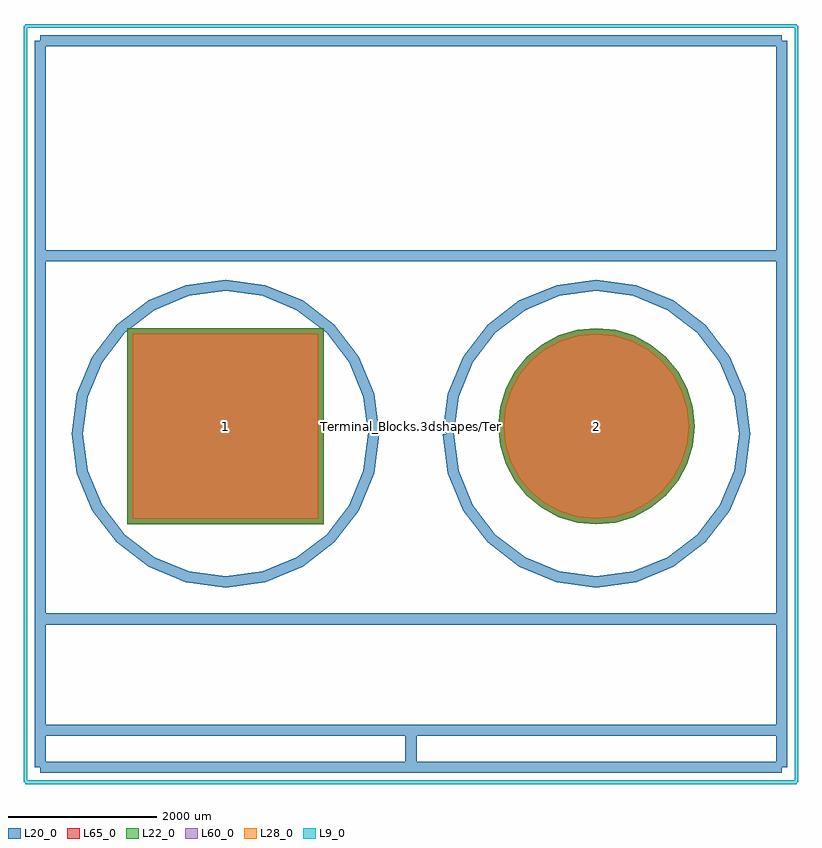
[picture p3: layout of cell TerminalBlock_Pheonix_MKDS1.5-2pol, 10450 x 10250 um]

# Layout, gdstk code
import gdstk
lib = gdstk.Library(unit=1e-6, precision=1e-09)
def R(c, l, rs):  # rectangles x0, y0, x1, y1
    for r in rs: c.add(gdstk.rectangle(r[:2], r[2:], *l))
def P(c, l, *ps):  # polygons
    for p in ps: c.add(gdstk.Polygon(p, *l))
L9_0 = (9, 0)
L20_0 = (20, 0)
L22_0 = (22, 0)
L28_0 = (28, 0)
L60_0 = (60, 0)
L65_0 = (65, 0)

terminalblock_pheonix_mk = lib.new_cell('TerminalBlock_Pheonix_MKDS1.5-2pol')
R(terminalblock_pheonix_mk, L22_0, [(-1325,-1325,1325,1325)])
P(terminalblock_pheonix_mk, L22_0, [(6325,0),(6299.54,258.495),(6224.14,507.056),(6101.697,736.131),(5936.916,936.916),(5736.131,1101.697),(5507.056,1224.14),(5258.495,1299.54),(5000,1325),(4741.505,1299.54),(4492.944,1224.14),(4263.869,1101.697),(4063.084,936.916),(3898.303,736.131),(3775.86,507.056),(3700.46,258.495),(3675,0),(3700.46,-258.495),(3775.86,-507.056),(3898.303,-736.131),(4063.084,-936.916),(4263.869,-1101.697),(4492.944,-1224.14),(4741.505,-1299.54),(5000,-1325),(5258.495,-1299.54),(5507.056,-1224.14),(5736.131,-1101.697),(5936.916,-936.916),(6101.697,-736.131),(6224.14,-507.056),(6299.54,-258.495)])
R(terminalblock_pheonix_mk, L28_0, [(-1250,-1250,1250,1250)])
P(terminalblock_pheonix_mk, L28_0, [(6250,0),(6225.982,243.863),(6154.849,478.354),(6039.337,694.463),(5883.883,883.883),(5694.463,1039.337),(5478.354,1154.849),(5243.863,1225.982),(5000,1250),(4756.137,1225.982),(4521.646,1154.849),(4305.537,1039.337),(4116.117,883.883),(3960.663,694.463),(3845.151,478.354),(3774.018,243.863),(3750,0),(3774.018,-243.863),(3845.151,-478.354),(3960.663,-694.463),(4116.117,-883.883),(4305.537,-1039.337),(4521.646,-1154.849),(4756.137,-1225.982),(5000,-1250),(5243.863,-1225.982),(5478.354,-1154.849),(5694.463,-1039.337),(5883.883,-883.883),(6039.337,-694.463),(6154.849,-478.354),(6225.982,-243.863)])
R(terminalblock_pheonix_mk, L60_0, [(-1250,-1250,1250,1250)])
P(terminalblock_pheonix_mk, L60_0, [(6250,0),(6225.982,243.863),(6154.849,478.354),(6039.337,694.463),(5883.883,883.883),(5694.463,1039.337),(5478.354,1154.849),(5243.863,1225.982),(5000,1250),(4756.137,1225.982),(4521.646,1154.849),(4305.537,1039.337),(4116.117,883.883),(3960.663,694.463),(3845.151,478.354),(3774.018,243.863),(3750,0),(3774.018,-243.863),(3845.151,-478.354),(3960.663,-694.463),(4116.117,-883.883),(4305.537,-1039.337),(4521.646,-1154.849),(4756.137,-1225.982),(5000,-1250),(5243.863,-1225.982),(5478.354,-1154.849),(5694.463,-1039.337),(5883.883,-883.883),(6039.337,-694.463),(6154.849,-478.354),(6225.982,-243.863)])
R(terminalblock_pheonix_mk, L65_0, [(-1325,-1325,1325,1325)])
P(terminalblock_pheonix_mk, L65_0, [(6325,0),(6299.54,258.495),(6224.14,507.056),(6101.697,736.131),(5936.916,936.916),(5736.131,1101.697),(5507.056,1224.14),(5258.495,1299.54),(5000,1325),(4741.505,1299.54),(4492.944,1224.14),(4263.869,1101.697),(4063.084,936.916),(3898.303,736.131),(3775.86,507.056),(3700.46,258.495),(3675,0),(3700.46,-258.495),(3775.86,-507.056),(3898.303,-736.131),(4063.084,-936.916),(4263.869,-1101.697),(4492.944,-1224.14),(4741.505,-1299.54),(5000,-1325),(5258.495,-1299.54),(5507.056,-1224.14),(5736.131,-1101.697),(5936.916,-936.916),(6101.697,-736.131),(6224.14,-507.056),(6299.54,-258.495)])
terminalblock_pheonix_mk.add(gdstk.FlexPath([(-2500,5200),(-2500,-4600)], 149.998, ends="flush", simple_path=True, layer=20, datatype=0))  # L20_0
terminalblock_pheonix_mk.add(gdstk.FlexPath([(7500,5200),(-2500,5200)], 149.998, ends="flush", simple_path=True, layer=20, datatype=0))  # L20_0
terminalblock_pheonix_mk.add(gdstk.FlexPath([(7500,-4600),(7500,5200)], 149.998, ends="flush", simple_path=True, layer=20, datatype=0))  # L20_0
terminalblock_pheonix_mk.add(gdstk.FlexPath([(-2500,-4600),(7500,-4600)], 149.998, ends="flush", simple_path=True, layer=20, datatype=0))  # L20_0
terminalblock_pheonix_mk.add(gdstk.FlexPath([(-2500,-4100),(7500,-4100)], 149.998, ends="flush", simple_path=True, layer=20, datatype=0))  # L20_0
terminalblock_pheonix_mk.add(gdstk.FlexPath([(-2500,2300),(7500,2300)], 149.998, ends="flush", simple_path=True, layer=20, datatype=0))  # L20_0
terminalblock_pheonix_mk.add(gdstk.FlexPath([(-2500,-2600),(7500,-2600)], 149.998, ends="flush", simple_path=True, layer=20, datatype=0))  # L20_0
terminalblock_pheonix_mk.add(gdstk.FlexPath([(2000,-100),(1931.852,417.638),(1732.051,900),(1414.214,1314.214),(1000,1632.051),(517.638,1831.852),(0,1900),(-517.638,1831.852),(-1000,1632.051),(-1414.214,1314.214),(-1732.051,900),(-1931.852,417.638),(-2000,-100),(-1931.852,-617.638),(-1732.051,-1100),(-1414.214,-1514.214),(-1000,-1832.051),(-517.638,-2031.852),(0,-2100),(517.638,-2031.852),(1000,-1832.051),(1414.214,-1514.214),(1732.051,-1100),(1931.852,-617.638),(2000,-100)], 149.998, ends="flush", simple_path=True, layer=20, datatype=0))  # L20_0
terminalblock_pheonix_mk.add(gdstk.FlexPath([(3000,-100),(3068.148,-617.638),(3267.949,-1100),(3585.786,-1514.214),(4000,-1832.051),(4482.362,-2031.852),(5000,-2100),(5517.638,-2031.852),(6000,-1832.051),(6414.214,-1514.214),(6732.051,-1100),(6931.852,-617.638),(7000,-100),(6931.852,417.638),(6732.051,900),(6414.214,1314.214),(6000,1632.051),(5517.638,1831.852),(5000,1900),(4482.362,1831.852),(4000,1632.051),(3585.786,1314.214),(3267.949,900),(3068.148,417.638),(3000,-100)], 149.998, ends="flush", simple_path=True, layer=20, datatype=0))  # L20_0
terminalblock_pheonix_mk.add(gdstk.FlexPath([(2500,-4100),(2500,-4600)], 149.998, ends="flush", simple_path=True, layer=20, datatype=0))  # L20_0
terminalblock_pheonix_mk.add(gdstk.FlexPath([(7700,5400),(7700,-4800)], 50, ends="flush", simple_path=True, layer=9, datatype=0))  # L9_0
terminalblock_pheonix_mk.add(gdstk.FlexPath([(7700,-4800),(-2700,-4800)], 50, ends="flush", simple_path=True, layer=9, datatype=0))  # L9_0
terminalblock_pheonix_mk.add(gdstk.FlexPath([(-2700,-4800),(-2700,5400)], 50, ends="flush", simple_path=True, layer=9, datatype=0))  # L9_0
terminalblock_pheonix_mk.add(gdstk.FlexPath([(-2700,5400),(7700,5400)], 50, ends="flush", simple_path=True, layer=9, datatype=0))  # L9_0
terminalblock_pheonix_mk.add(gdstk.Label('Terminal_Blocks.3dshapes/TerminalBlock_Pheonix_MKDS1.5-2pol.wrl', (2499.36,0), layer=12, texttype=0))
terminalblock_pheonix_mk.add(gdstk.Label('2', (5000,0), layer=28, texttype=0))
terminalblock_pheonix_mk.add(gdstk.Label('1', (0,0), layer=28, texttype=0))
terminalblock_pheonix_mk.add(gdstk.Label('type', (2500,6600), layer=9, texttype=0))
terminalblock_pheonix_mk.add(gdstk.Label('devicename', (2500,-5900), layer=9, texttype=0))

lib.write_gds('TerminalBlock_Pheonix_MKDS1.5-2pol.gds')
